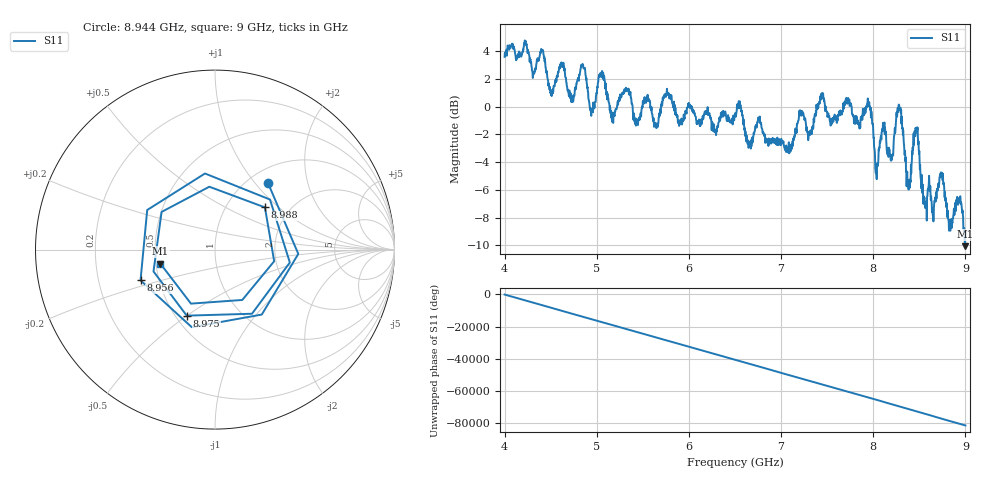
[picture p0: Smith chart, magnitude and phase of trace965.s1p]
! Created with skrf 1.8.0 (http://scikit-rf.org).
# Hz S RI R 50.0
!freq ReS11 ImS11
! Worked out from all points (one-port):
!   1601 points, 4 GHz to 9 GHz, reference 50 ohm
!   lowest |S11| = -10.0 dB at 9 GHz (marker M1), VSWR 1.92, Z = 26.4 - j4.54 ohm
!   |S11| at or under -10 dB: 8.999634 GHz to end of sweep
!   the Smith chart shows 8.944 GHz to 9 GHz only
!   S11 on the Smith chart (normalised r, x): 8.944 GHz: 1.21, +1.17; 8.956 GHz: 0.39, -0.17; 8.975 GHz: 0.57, -0.50; 8.988 GHz: 1.50, +0.82; 9 GHz: 0.53, -0.09
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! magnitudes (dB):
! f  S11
! 4 GHz  3.6
! 4.406 GHz  4.1
! 4.506 GHz  0.8
! 4.625 GHz  3.0
! 4.731 GHz  0.4
! 4.853 GHz  2.9
! 4.944 GHz  -0.2
! 5.047 GHz  2.1
! 5.166 GHz  -1.1
! 5.25 GHz  0.7
! 5.875 GHz  -0.6
! 6.5 GHz  -0.5
! 7.125 GHz  -2.5
! 7.438 GHz  0.6
! 7.75 GHz  0.1
! 7.959 GHz  0.0
! 8.038 GHz  -5.2
! 8.112 GHz  -1.6
! 8.197 GHz  -3.9
! 8.284 GHz  -0.1
! 8.375 GHz  -5.3
! 8.462 GHz  -1.6
! 8.556 GHz  -6.6
! 8.944 GHz  -6.5
! 8.956 GHz  -7.0
! 8.975 GHz  -8.0
! 8.988 GHz  -8.8
! 9 GHz  -10.0
